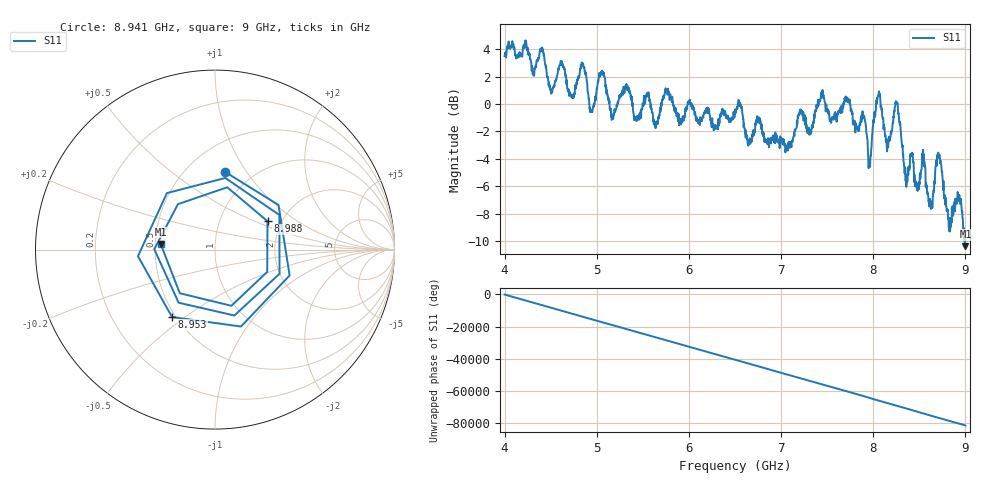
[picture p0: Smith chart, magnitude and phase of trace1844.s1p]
! Created with skrf 1.8.0 (http://scikit-rf.org).
# Hz S RI R 50.0
!freq ReS11 ImS11
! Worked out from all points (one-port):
!   1601 points, 4 GHz to 9 GHz, reference 50 ohm
!   lowest |S11| = -10.3 dB at 9 GHz (marker M1), VSWR 1.87, Z = 26.7 + j1.81 ohm
!   |S11| at or under -10 dB: 8.996146 GHz to end of sweep
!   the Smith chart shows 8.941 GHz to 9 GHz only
!   S11 on the Smith chart (normalised r, x): 8.941 GHz: 0.74, +0.80; 8.953 GHz: 0.48, -0.45; 8.988 GHz: 1.69, +0.60; 9 GHz: 0.53, +0.04
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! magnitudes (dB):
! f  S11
! 4 GHz  3.5
! 4.403 GHz  4.1
! 4.509 GHz  0.9
! 4.625 GHz  2.9
! 4.725 GHz  0.5
! 4.853 GHz  2.9
! 4.944 GHz  -0.5
! 5.053 GHz  2.2
! 5.162 GHz  -1.2
! 5.25 GHz  0.5
! 5.875 GHz  -0.6
! 6.5 GHz  -0.7
! 7.125 GHz  -2.8
! 7.441 GHz  0.4
! 7.75 GHz  0.0
! 7.959 GHz  -4.1
! 8.053 GHz  0.6
! 8.159 GHz  -3.0
! 8.253 GHz  0.1
! 8.375 GHz  -4.7
! 8.541 GHz  -3.3
! 8.625 GHz  -7.5
! 8.709 GHz  -3.8
! 8.825 GHz  -8.9
! 8.941 GHz  -7.2
! 8.953 GHz  -7.0
! 8.988 GHz  -9.6
! 9 GHz  -10.3
